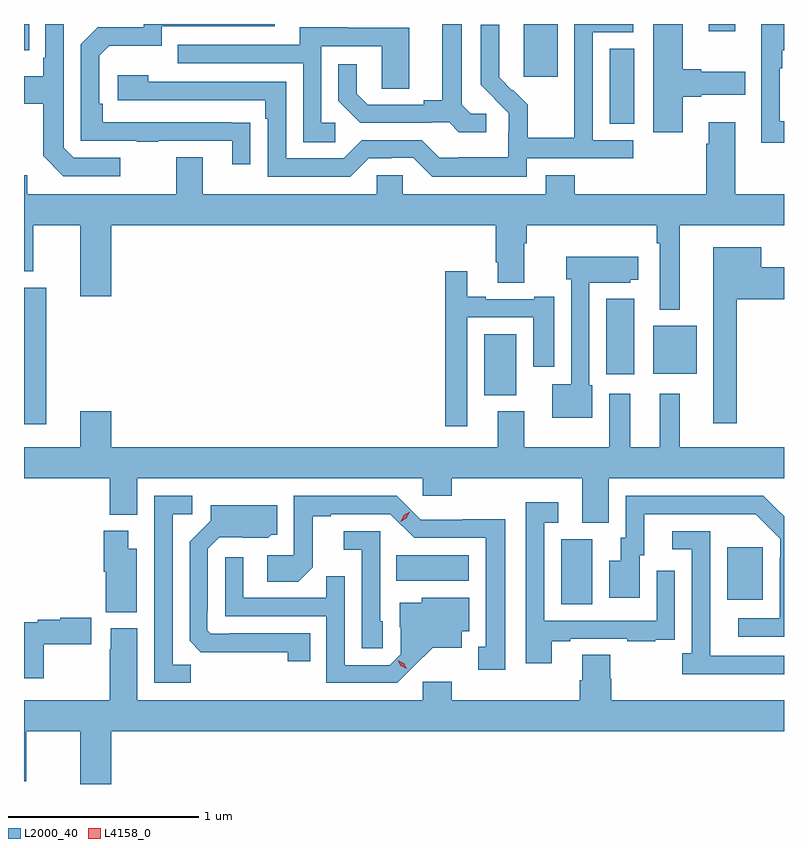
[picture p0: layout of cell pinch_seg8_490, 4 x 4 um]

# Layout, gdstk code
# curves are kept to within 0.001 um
import gdstk
lib = gdstk.Library(unit=1e-6, precision=1e-09)
def R(c, l, rs):  # rectangles x0, y0, x1, y1
    for r in rs: c.add(gdstk.rectangle(r[:2], r[2:], *l))
def P(c, l, *ps):  # polygons
    for p in ps: c.add(gdstk.Polygon(p, *l))
L2000_40 = (2000, 40)
L4158_0 = (4158, 0)

pinch_seg8_490 = lib.new_cell('pinch_seg8_490')
R(pinch_seg8_490, L2000_40, [(203.504,1146.472,203.668,1146.816), (204.377,1146.497,204.565,1146.772), (202.636,1146.596,203.017,1146.73), (200.677,1147.421,200.795,1148.14), (203.099,1147.574,203.269,1147.894), (203.741,1147.683,203.89,1148.08), (203.99,1147.685,204.217,1147.939), (203.759,1149.001,203.89,1149.398), (203.306,1149.249,203.485,1149.527), (200.677,1149.389,200.705,1149.527), (204.281,1149.489,204.421,1149.527)])
P(pinch_seg8_490, L2000_40, [(203.322,1148.82),(203.884,1148.82),(203.884,1148.916),(203.67,1148.916),(203.67,1149.483),(203.884,1149.483),(203.884,1149.527),(203.574,1149.527),(203.574,1149.152),(203.572,1149.152),(203.572,1148.929),(203.327,1148.929),(203.327,1149.103),(203.25,1149.18),(203.247,1149.177),(203.177,1149.248),(203.178,1149.524),(203.082,1149.524),(203.082,1149.206),(203.228,1149.058),(203.228,1148.961),(203.226,1148.961),(203.226,1148.827),(202.963,1148.827),(202.963,1148.823),(202.863,1148.823),(202.77,1148.916),(202.455,1148.916),(202.359,1148.82),(202.056,1148.82),(202.056,1149.222),(201.332,1149.222),(201.332,1149.256),(201.171,1149.256),(201.171,1149.126),(201.947,1149.126),(201.947,1149.029),(201.96,1149.029),(201.96,1148.724),(202.395,1148.724),(202.491,1148.82),(202.61,1148.82),(202.61,1148.823),(202.725,1148.823),(202.825,1148.723),(203.322,1148.723)],
  [(201.869,1149.008),(201.092,1149.009),(201.092,1149.106),(201.072,1149.106),(201.072,1149.36),(201.125,1149.413),(201.402,1149.413),(201.402,1149.516),(201.997,1149.516),(201.997,1149.527),(201.306,1149.527),(201.306,1149.51),(201.066,1149.51),(200.976,1149.42),(200.976,1148.913),(201.271,1148.913),(201.271,1148.908),(201.383,1148.908),(201.383,1148.913),(201.773,1148.913),(201.773,1148.79),(201.869,1148.79)],
  [(203.11,1149.054),(203.028,1149.054),(202.981,1149.101),(202.981,1149.527),(202.877,1149.527),(202.877,1149.125),(202.781,1149.125),(202.781,1149.102),(202.486,1149.102),(202.429,1149.159),(202.429,1149.316),(202.332,1149.316),(202.332,1149.122),(202.448,1149.006),(202.82,1149.006),(202.82,1149.009),(202.914,1149.009),(202.966,1148.957),(203.11,1148.957)],
  [(204.145,1149.143),(204.241,1149.143),(204.241,1149.155),(204.472,1149.155),(204.472,1149.277),(204.241,1149.277),(204.241,1149.29),(204.145,1149.29),(204.145,1149.527),(203.99,1149.527),(203.99,1148.958),(204.145,1148.958)],
  [(201.184,1148.823),(200.94,1148.823),(200.886,1148.877),(200.886,1149.527),(200.79,1149.527),(200.79,1149.349),(200.778,1149.349),(200.778,1149.253),(200.677,1149.253),(200.677,1149.106),(200.778,1149.106),(200.778,1148.833),(200.883,1148.727),(201.184,1148.727)],
  [(204.677,1149.014),(204.654,1149.014),(204.654,1149.293),(204.667,1149.293),(204.667,1149.389),(204.677,1149.389),(204.677,1149.527),(204.558,1149.527),(204.558,1148.901),(204.677,1148.901)],
  [(202.315,1149.006),(202.242,1149.006),(202.242,1149.411),(202.56,1149.411),(202.56,1149.187),(202.705,1149.187),(202.705,1149.507),(202.381,1149.507),(202.381,1149.511),(202.127,1149.511),(202.127,1149.417),(201.487,1149.417),(201.487,1149.321),(202.146,1149.321),(202.146,1148.905),(202.315,1148.905)],
  [(204.127,1148.468),(204.677,1148.468),(204.677,1148.632),(204.421,1148.632),(204.421,1149.01),(204.281,1149.01),(204.281,1148.897),(204.269,1148.897),(204.269,1148.632),(203.576,1148.632),(203.576,1148.731),(203.423,1148.731),(203.423,1148.632),(202.671,1148.632),(202.671,1148.73),(202.533,1148.73),(202.533,1148.632),(201.619,1148.632),(201.619,1148.827),(201.479,1148.827),(201.479,1148.632),(200.695,1148.632),(200.695,1148.731),(200.677,1148.731),(200.677,1148.225),(200.725,1148.225),(200.725,1148.468),(200.972,1148.468),(200.972,1148.094),(201.136,1148.094),(201.136,1148.468),(203.159,1148.468),(203.159,1148.272),(203.171,1148.272),(203.171,1148.164),(203.311,1148.164),(203.311,1148.372),(203.324,1148.372),(203.324,1148.468),(204.006,1148.468),(204.006,1148.372),(204.023,1148.372),(204.023,1148.024),(204.127,1148.024)],
  [(204.427,1148.078),(204.677,1148.078),(204.677,1148.248),(204.556,1148.248),(204.556,1148.353),(204.305,1148.353),(204.305,1147.425),(204.427,1147.425)],
  [(203.668,1147.626),(203.652,1147.626),(203.652,1148.165),(203.868,1148.165),(203.868,1148.18),(203.911,1148.18),(203.911,1148.302),(203.531,1148.302),(203.531,1148.184),(203.556,1148.184),(203.556,1147.63),(203.456,1147.63),(203.456,1147.454),(203.668,1147.454)],
  [(203.01,1147.983),(203.357,1147.983),(203.357,1147.722),(203.467,1147.722),(203.467,1148.092),(203.363,1148.092),(203.363,1148.079),(203.107,1148.079),(203.107,1148.092),(203.011,1148.092),(203.011,1148.227),(202.894,1148.227),(202.894,1147.41),(203.01,1147.41)],
  [(203.755,1147.136),(204.677,1147.136),(204.677,1147.3),(204.127,1147.3),(204.127,1147.582),(204.023,1147.582),(204.023,1147.3),(203.869,1147.3),(203.869,1147.582),(203.756,1147.582),(203.756,1147.3),(203.311,1147.3),(203.311,1147.489),(203.171,1147.489),(203.171,1147.3),(201.136,1147.3),(201.136,1147.489),(200.972,1147.489),(200.972,1147.3),(200.677,1147.3),(200.677,1147.136),(201.127,1147.136),(201.127,1146.944),(201.274,1146.944),(201.274,1147.136),(202.776,1147.136),(202.776,1147.043),(202.928,1147.043),(202.928,1147.136),(203.615,1147.136),(203.615,1146.901),(203.755,1146.901)],
  [(203.209,1146.92),(202.986,1146.92),(202.986,1146.918),(202.764,1146.918),(202.638,1147.044),(202.098,1147.044),(202.098,1146.732),(201.957,1146.732),(201.957,1146.592),(202.121,1146.592),(202.197,1146.668),(202.197,1146.936),(202.291,1146.936),(202.291,1146.948),(202.605,1146.948),(202.731,1146.822),(203.108,1146.822),(203.108,1146.249),(203.069,1146.249),(203.069,1146.129),(203.209,1146.129)],
  [(204.677,1146.937),(204.66,1146.954),(204.659,1146.953),(204.568,1147.044),(203.844,1147.044),(203.844,1146.822),(203.819,1146.822),(203.819,1146.703),(203.756,1146.703),(203.756,1146.507),(203.917,1146.507),(203.917,1146.732),(203.941,1146.732),(203.941,1146.948),(204.529,1146.948),(204.657,1146.819),(204.657,1146.719),(204.654,1146.719),(204.654,1146.399),(204.435,1146.399),(204.435,1146.303),(204.677,1146.303)],
  [(201.555,1146.155),(201.459,1146.155),(201.459,1146.948),(201.562,1146.948),(201.562,1147.044),(201.363,1147.044),(201.363,1146.06),(201.555,1146.06)],
  [(203.455,1146.279),(203.551,1146.279),(203.551,1146.291),(203.851,1146.291),(203.851,1146.279),(203.999,1146.279),(203.999,1146.285),(204.101,1146.285),(204.101,1146.394),(204.102,1146.394),(204.102,1146.649),(204.006,1146.649),(204.006,1146.387),(203.415,1146.387),(203.415,1146.903),(203.488,1146.903),(203.488,1147.009),(203.319,1147.009),(203.319,1146.162),(203.455,1146.162)],
  [(202.184,1146.321),(201.76,1146.321),(201.76,1146.318),(201.66,1146.318),(201.642,1146.336),(201.642,1146.436),(201.645,1146.436),(201.645,1146.765),(201.705,1146.825),(201.962,1146.824),(201.978,1146.84),(202.009,1146.84),(202.009,1146.994),(201.659,1146.994),(201.659,1146.912),(201.549,1146.802),(201.549,1146.28),(201.608,1146.221),(202.066,1146.22),(202.066,1146.174),(202.184,1146.174)],
  [(201.271,1146.766),(201.226,1146.766),(201.226,1146.859),(201.097,1146.859),(201.097,1146.645),(201.106,1146.645),(201.106,1146.431),(201.271,1146.431)],
  [(202.566,1146.384),(202.551,1146.384),(202.551,1146.858),(202.359,1146.858),(202.359,1146.761),(202.455,1146.761),(202.455,1146.241),(202.566,1146.241)],
  [(204.677,1146.201),(204.289,1146.201),(204.289,1146.401),(204.288,1146.401),(204.288,1146.858),(204.09,1146.858),(204.09,1146.762),(204.192,1146.762),(204.192,1146.214),(204.141,1146.214),(204.141,1146.104),(204.677,1146.104)],
  [(202.726,1146.143),(202.829,1146.245),(202.981,1146.245),(202.981,1146.332),(203.02,1146.332),(203.02,1146.508),(202.77,1146.508),(202.77,1146.481),(202.655,1146.481),(202.655,1146.352),(202.659,1146.352),(202.659,1146.21),(202.602,1146.153),(202.365,1146.153),(202.365,1146.62),(202.267,1146.62),(202.267,1146.507),(201.831,1146.507),(201.831,1146.721),(201.735,1146.721),(201.735,1146.411),(202.269,1146.411),(202.269,1146.06),(202.642,1146.06)],
  [(200.782,1146.262),(201.031,1146.262),(201.031,1146.401),(200.868,1146.401),(200.868,1146.392),(200.75,1146.392),(200.75,1146.379),(200.677,1146.379),(200.677,1146.083),(200.782,1146.083)],
  [(200.677,1145.541),(200.69,1145.541),(200.69,1145.804),(200.972,1145.804),(200.972,1145.527),(201.136,1145.527),(201.136,1145.804),(204.677,1145.804),(204.677,1145.968),(203.768,1145.968),(203.768,1146.081),(203.763,1146.081),(203.763,1146.206),(203.615,1146.206),(203.615,1146.074),(203.603,1146.074),(203.603,1145.968),(202.928,1145.968),(202.928,1146.064),(202.776,1146.064),(202.776,1145.968),(201.274,1145.968),(201.274,1146.346),(201.134,1146.346),(201.134,1146.236),(201.127,1146.236),(201.127,1145.968),(200.677,1145.968)])
P(pinch_seg8_490, L4158_0, [(202.692,1146.134),(202.661,1146.149),(202.644,1146.178),(202.644,1146.178),(202.644,1146.178),(202.675,1146.163),(202.692,1146.134),(202.692,1146.134)],
  [(202.659,1146.908),(202.659,1146.908),(202.676,1146.941),(202.707,1146.96),(202.707,1146.96),(202.707,1146.96),(202.69,1146.927),(202.659,1146.908)])

lib.write_gds('pinch_seg8_490.gds')
